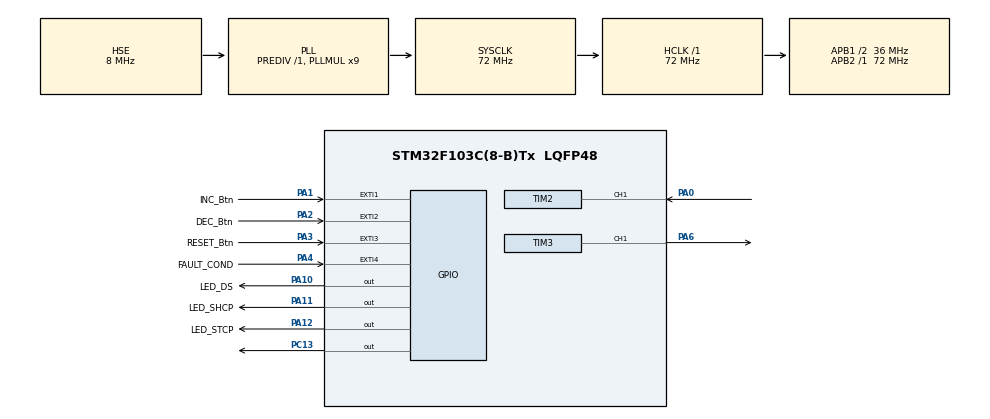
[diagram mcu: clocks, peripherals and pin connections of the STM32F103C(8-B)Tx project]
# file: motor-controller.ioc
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Mcu.Family=STM32F1
Mcu.Name=STM32F103C(8-B)Tx
Mcu.Package=LQFP48
NVIC.EXTI1_IRQn=true\:1\:0\:true\:false\:true\:true\:true\:true
NVIC.EXTI2_IRQn=true\:1\:0\:true\:false\:true\:true\:true\:true
NVIC.EXTI3_IRQn=true\:1\:0\:true\:false\:true\:true\:true\:true
NVIC.EXTI4_IRQn=true\:0\:0\:false\:false\:true\:true\:true\:true
NVIC.PriorityGroup=NVIC_PRIORITYGROUP_4
NVIC.TIM2_IRQn=true\:0\:0\:false\:false\:true\:true\:true\:true
PA0-WKUP.Signal=S_TIM2_CH1_ETR
PA1.GPIO_Label=INC_Btn
PA1.Signal=GPXTI1
PA10.GPIO_Label=LED_DS
PA10.Signal=GPIO_Output
PA11.GPIO_Label=LED_SHCP
PA11.Signal=GPIO_Output
PA12.GPIO_Label=LED_STCP
PA12.Signal=GPIO_Output
PA13.Mode=Serial_Wire
PA13.Signal=SYS_JTMS-SWDIO
PA14.Mode=Serial_Wire
PA14.Signal=SYS_JTCK-SWCLK
PA2.GPIO_Label=DEC_Btn
PA2.Signal=GPXTI2
PA3.GPIO_Label=RESET_Btn
PA3.Signal=GPXTI3
PA4.GPIO_Label=FAULT_COND
PA4.Signal=GPXTI4
PA6.Signal=S_TIM3_CH1
PC13-TAMPER-RTC.Signal=GPIO_Output
PD0-OSC_IN.Mode=HSE-External-Oscillator
PD0-OSC_IN.Signal=RCC_OSC_IN
PD1-OSC_OUT.Mode=HSE-External-Oscillator
PD1-OSC_OUT.Signal=RCC_OSC_OUT
ProjectManager.HeapSize=0x200
ProjectManager.StackSize=0x400
ProjectManager.TargetToolchain=STM32CubeIDE
RCC.AHBFreq_Value=72000000
RCC.APB1CLKDivider=RCC_HCLK_DIV2
RCC.APB1Freq_Value=36000000
RCC.APB1TimFreq_Value=72000000
RCC.APB2Freq_Value=72000000
RCC.APB2TimFreq_Value=72000000
RCC.HCLKFreq_Value=72000000
RCC.PLLMUL=RCC_PLL_MUL9
RCC.PLLSourceVirtual=RCC_PLLSOURCE_HSE
RCC.SYSCLKFreq_VALUE=72000000
RCC.SYSCLKSource=RCC_SYSCLKSOURCE_PLLCLK
RCC.USBFreq_Value=72000000
SH.S_TIM2_CH1_ETR.0=TIM2_CH1,Input_Capture1_from_TI1
SH.S_TIM3_CH1.0=TIM3_CH1,PWM Generation1 CH1
TIM2.Channel-Input_Capture1_from_TI1=TIM_CHANNEL_1
TIM2.Period=12000-1
TIM2.Prescaler=3200-1
TIM3.Channel-PWM\ Generation1\ CH1=TIM_CHANNEL_1
TIM3.Period=1000-1
TIM3.Prescaler=720-1
TIM3.Pulse-PWM\ Generation1\ CH1=25
VP_TIM2_VS_ClockSourceINT.Mode=Internal
VP_TIM3_VS_ClockSourceINT.Mode=Internal
board=custom

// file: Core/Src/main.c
/* USER CODE BEGIN Header */
/**
  ******************************************************************************
  * @file           : main.c
  * @brief          : Main program body
  ******************************************************************************
  * @attention
  *
  * Copyright (c) 2024 STMicroelectronics.
  * All rights reserved.
  *
  * This software is licensed under terms that can be found in the LICENSE file
  * in the root directory of this software component.
  * If no LICENSE file comes with this software, it is provided AS-IS.
  *
  ******************************************************************************
  */
/* USER CODE END Header */
#include "main.h"

/* USER CODE BEGIN Includes */
#include "pid.h"
/* USER CODE END Includes */

/* USER CODE BEGIN PTD */
// DS for running status of the motor
typedef struct {
  double ref_speed;
  double current_rpm;
  double pid_out;
  int fault_status;
} RUN_Status;
/* USER CODE END PTD */

TIM_HandleTypeDef htim2;
TIM_HandleTypeDef htim3;

/* USER CODE BEGIN PV */
// Status update and sampling
RUN_Status ref_status = {0};
RUN_Status* status = &ref_status;

uint32_t init_captureVal;
uint32_t last_captureVal;
volatile int pulse_count = 0;
volatile double rpm = 0;

// PID Controller
PID_TypeDef vPID;
double vInput, vOutput, vSetpoint;
double Kp=1, Ki=1, Kd=1;
PIDPON_TypeDef POn =  _PID_P_ON_E;
PIDCD_TypeDef ControllerDirection = _PID_CD_DIRECT;
/* USER CODE END PV */

void SystemClock_Config(void);
static void MX_GPIO_Init(void);
static void MX_TIM2_Init(void);
static void MX_TIM3_Init(void);

/* USER CODE BEGIN 0 */
// Indicator LED Array control using shift registers
void LEDshiftArray(int count);
/* USER CODE END 0 */

int main(void)
{

  /* MCU Configuration--------------------------------------------------------*/

  /* Reset of all peripherals, Initializes the Flash interface and the Systick. */
  HAL_Init();

  /* USER CODE BEGIN Init */
  PID(&vPID, &status->current_rpm, &status->pid_out, &status->ref_speed, Kp, Ki, Kd, POn, ControllerDirection);
  PID_SetMode(&vPID, _PID_MODE_AUTOMATIC);
  PID_SetSampleTime(&vPID, 600);
  PID_SetOutputLimits(&vPID, 0, 1000);
  /* USER CODE END Init */

  /* Configure the system clock */
  SystemClock_Config();

  /* Initialize all configured peripherals */
  MX_GPIO_Init();
  MX_TIM2_Init();
  MX_TIM3_Init();

  /* Infinite loop */
  while (1)
  {
	  LEDshiftArray((int)(status->current_rpm/100));
  }
}

void SystemClock_Config(void)
{
  RCC_OscInitTypeDef RCC_OscInitStruct = {0};
  RCC_ClkInitTypeDef RCC_ClkInitStruct = {0};

  /** Initializes the RCC Oscillators according to the specified parameters
  * in the RCC_OscInitTypeDef structure.
  */
  RCC_OscInitStruct.OscillatorType = RCC_OSCILLATORTYPE_HSE;
  RCC_OscInitStruct.HSEState = RCC_HSE_ON;
  RCC_OscInitStruct.HSEPredivValue = RCC_HSE_PREDIV_DIV1;
  RCC_OscInitStruct.HSIState = RCC_HSI_ON;
  RCC_OscInitStruct.PLL.PLLState = RCC_PLL_ON;
  RCC_OscInitStruct.PLL.PLLSource = RCC_PLLSOURCE_HSE;
  RCC_OscInitStruct.PLL.PLLMUL = RCC_PLL_MUL9;
  if (HAL_RCC_OscConfig(&RCC_OscInitStruct) != HAL_OK)
  {
    Error_Handler();
  }

  /** Initializes the CPU, AHB and APB buses clocks
  */
  RCC_ClkInitStruct.ClockType = RCC_CLOCKTYPE_HCLK|RCC_CLOCKTYPE_SYSCLK
                              |RCC_CLOCKTYPE_PCLK1|RCC_CLOCKTYPE_PCLK2;
  RCC_ClkInitStruct.SYSCLKSource = RCC_SYSCLKSOURCE_PLLCLK;
  RCC_ClkInitStruct.AHBCLKDivider = RCC_SYSCLK_DIV1;
  RCC_ClkInitStruct.APB1CLKDivider = RCC_HCLK_DIV2;
  RCC_ClkInitStruct.APB2CLKDivider = RCC_HCLK_DIV1;

  if (HAL_RCC_ClockConfig(&RCC_ClkInitStruct, FLASH_LATENCY_2) != HAL_OK)
  {
    Error_Handler();
  }
}

static void MX_TIM2_Init(void)
{

  TIM_ClockConfigTypeDef sClockSourceConfig = {0};
  TIM_MasterConfigTypeDef sMasterConfig = {0};
  TIM_IC_InitTypeDef sConfigIC = {0};

  htim2.Instance = TIM2;
  htim2.Init.Prescaler = 3200-1;
  htim2.Init.CounterMode = TIM_COUNTERMODE_UP;
  htim2.Init.Period = 12000-1;
  htim2.Init.ClockDivision = TIM_CLOCKDIVISION_DIV1;
  htim2.Init.AutoReloadPreload = TIM_AUTORELOAD_PRELOAD_DISABLE;
  if (HAL_TIM_Base_Init(&htim2) != HAL_OK)
  {
    Error_Handler();
  }
  sClockSourceConfig.ClockSource = TIM_CLOCKSOURCE_INTERNAL;
  if (HAL_TIM_ConfigClockSource(&htim2, &sClockSourceConfig) != HAL_OK)
  {
    Error_Handler();
  }
  if (HAL_TIM_IC_Init(&htim2) != HAL_OK)
  {
    Error_Handler();
  }
  sMasterConfig.MasterOutputTrigger = TIM_TRGO_RESET;
  sMasterConfig.MasterSlaveMode = TIM_MASTERSLAVEMODE_DISABLE;
  if (HAL_TIMEx_MasterConfigSynchronization(&htim2, &sMasterConfig) != HAL_OK)
  {
    Error_Handler();
  }
  sConfigIC.ICPolarity = TIM_INPUTCHANNELPOLARITY_RISING;
  sConfigIC.ICSelection = TIM_ICSELECTION_DIRECTTI;
  sConfigIC.ICPrescaler = TIM_ICPSC_DIV1;
  sConfigIC.ICFilter = 0;
  if (HAL_TIM_IC_ConfigChannel(&htim2, &sConfigIC, TIM_CHANNEL_1) != HAL_OK)
  {
    Error_Handler();
  }

}

static void MX_TIM3_Init(void)
{

  TIM_ClockConfigTypeDef sClockSourceConfig = {0};
  TIM_MasterConfigTypeDef sMasterConfig = {0};
  TIM_OC_InitTypeDef sConfigOC = {0};

  htim3.Instance = TIM3;
  htim3.Init.Prescaler = 720-1;
  htim3.Init.CounterMode = TIM_COUNTERMODE_UP;
  htim3.Init.Period = 1000-1;
  htim3.Init.ClockDivision = TIM_CLOCKDIVISION_DIV1;
  htim3.Init.AutoReloadPreload = TIM_AUTORELOAD_PRELOAD_DISABLE;
  if (HAL_TIM_Base_Init(&htim3) != HAL_OK)
  {
    Error_Handler();
  }
  sClockSourceConfig.ClockSource = TIM_CLOCKSOURCE_INTERNAL;
  if (HAL_TIM_ConfigClockSource(&htim3, &sClockSourceConfig) != HAL_OK)
  {
    Error_Handler();
  }
  if (HAL_TIM_PWM_Init(&htim3) != HAL_OK)
  {
    Error_Handler();
  }
  sMasterConfig.MasterOutputTrigger = TIM_TRGO_RESET;
  sMasterConfig.MasterSlaveMode = TIM_MASTERSLAVEMODE_DISABLE;
  if (HAL_TIMEx_MasterConfigSynchronization(&htim3, &sMasterConfig) != HAL_OK)
  {
    Error_Handler();
  }
  sConfigOC.OCMode = TIM_OCMODE_PWM1;
  sConfigOC.Pulse = 25;
  sConfigOC.OCPolarity = TIM_OCPOLARITY_HIGH;
  sConfigOC.OCFastMode = TIM_OCFAST_DISABLE;
  if (HAL_TIM_PWM_ConfigChannel(&htim3, &sConfigOC, TIM_CHANNEL_1) != HAL_OK)
  {
    Error_Handler();
  }
  HAL_TIM_MspPostInit(&htim3);

}

static void MX_GPIO_Init(void)
{
  GPIO_InitTypeDef GPIO_InitStruct = {0};

  /* GPIO Ports Clock Enable */
  __HAL_RCC_GPIOC_CLK_ENABLE();
  __HAL_RCC_GPIOD_CLK_ENABLE();
  __HAL_RCC_GPIOA_CLK_ENABLE();

  /*Configure GPIO pin Output Level */
  HAL_GPIO_WritePin(GPIOC, GPIO_PIN_13, GPIO_PIN_RESET);

  /*Configure GPIO pin Output Level */
  HAL_GPIO_WritePin(GPIOA, LED_DS_Pin|LED_SHCP_Pin|LED_STCP_Pin, GPIO_PIN_RESET);

  /*Configure GPIO pin : PC13 */
  GPIO_InitStruct.Pin = GPIO_PIN_13;
  GPIO_InitStruct.Mode = GPIO_MODE_OUTPUT_PP;
  GPIO_InitStruct.Pull = GPIO_NOPULL;
  GPIO_InitStruct.Speed = GPIO_SPEED_FREQ_LOW;
  HAL_GPIO_Init(GPIOC, &GPIO_InitStruct);

  /*Configure GPIO pins : INC_Btn_Pin DEC_Btn_Pin RESET_Btn_Pin FAULT_COND_Pin */
  GPIO_InitStruct.Pin = INC_Btn_Pin|DEC_Btn_Pin|RESET_Btn_Pin|FAULT_COND_Pin;
  GPIO_InitStruct.Mode = GPIO_MODE_IT_RISING;
  GPIO_InitStruct.Pull = GPIO_NOPULL;
  HAL_GPIO_Init(GPIOA, &GPIO_InitStruct);

  /*Configure GPIO pins : LED_DS_Pin LED_SHCP_Pin LED_STCP_Pin */
  GPIO_InitStruct.Pin = LED_DS_Pin|LED_SHCP_Pin|LED_STCP_Pin;
  GPIO_InitStruct.Mode = GPIO_MODE_OUTPUT_PP;
  GPIO_InitStruct.Pull = GPIO_NOPULL;
  GPIO_InitStruct.Speed = GPIO_SPEED_FREQ_LOW;
  HAL_GPIO_Init(GPIOA, &GPIO_InitStruct);

  /* EXTI interrupt init*/
  HAL_NVIC_SetPriority(EXTI1_IRQn, 1, 0);
  HAL_NVIC_EnableIRQ(EXTI1_IRQn);

  HAL_NVIC_SetPriority(EXTI2_IRQn, 1, 0);
  HAL_NVIC_EnableIRQ(EXTI2_IRQn);

  HAL_NVIC_SetPriority(EXTI3_IRQn, 1, 0);
  HAL_NVIC_EnableIRQ(EXTI3_IRQn);

  HAL_NVIC_SetPriority(EXTI4_IRQn, 0, 0);
  HAL_NVIC_EnableIRQ(EXTI4_IRQn);

}

/* USER CODE BEGIN 4 */

void HAL_GPIO_EXTI_Callback(uint16_t GPIO_Pin)
{
	if (GPIO_Pin == INC_Btn_Pin) {
		if (status->ref_speed < 1000) {
			status->ref_speed += 100;
		}
	} else if (GPIO_Pin == DEC_Btn_Pin) {
		if (status->ref_speed > 0) {
			status->ref_speed -= 100;
		}
	} else if (GPIO_Pin == RESET_Btn_Pin) {
		status->fault_status = 0;

	} else if (GPIO_Pin == FAULT_COND_Pin) {
		status->fault_status = 1;
		status->ref_speed = 0;
		HAL_TIM_PWM_Stop(&htim3, TIM_CHANNEL_1);
	}
}

// Timer 2 input capture

void HAL_TIM_IC_CaptureCallback(TIM_HandleTypeDef *htim)
{
	if (htim->Channel == HAL_TIM_ACTIVE_CHANNEL_1) {
		if (pulse_count == 0) {
			init_captureVal = HAL_TIM_ReadCapturedValue(htim, TIM_CHANNEL_1);
		}
		pulse_count++;
	}

}

void HAL_TIM_PeriodElapsedCallback(TIM_HandleTypeDef *htim)
{
	if (htim->Instance == TIM2) {
		last_captureVal = HAL_TIM_ReadCapturedValue(htim, TIM_CHANNEL_1);
		// When at 100 RPM, there is one revolution per 0.6 seconds. Thus 10 pulses per period of 600ms
		rpm = (pulse_count%101)*60/(10*(last_captureVal - init_captureVal));	// Check units (milliseconds or s)
		status->current_rpm = rpm;

		pulse_count = 0;
		if (!status->fault_status) {
			PID_Compute(&vPID);
			TIM3->CCR1 = (int)(status->pid_out);
			HAL_TIM_PWM_Start(&htim3, TIM_CHANNEL_1);
		}
	}
}

void LEDshiftArray(int count) {

	HAL_GPIO_WritePin(GPIOA, GPIO_PIN_12, GPIO_PIN_RESET);

	for (int i = 0; i < 16; i++) {
		if (i < count) {
			// [] [] [] [] [] [] [] [] [] [] 0 0 0 0 0 0 < LSB
			HAL_GPIO_WritePin(GPIOA, GPIO_PIN_10, GPIO_PIN_SET);
		}
		else {
			HAL_GPIO_WritePin(GPIOA, GPIO_PIN_10, GPIO_PIN_SET);
		}

		HAL_GPIO_WritePin(GPIOA, GPIO_PIN_11, GPIO_PIN_SET);
		HAL_GPIO_WritePin(GPIOA, GPIO_PIN_11, GPIO_PIN_RESET);

	}
	HAL_GPIO_WritePin(GPIOA, GPIO_PIN_12, GPIO_PIN_SET);
}

/* USER CODE END 4 */

void Error_Handler(void)
{
  __disable_irq();
  while (1)
  {
  }
}
